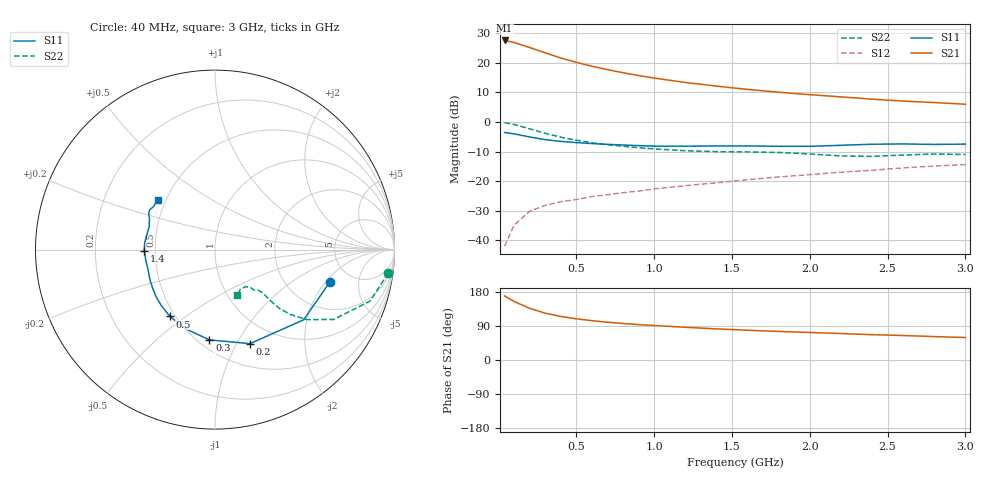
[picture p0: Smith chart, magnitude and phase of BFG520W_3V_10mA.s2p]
! Filename:  BFG520WC.S2P  Version:  4.0
! Philips part #: BFG520  Date: Jun 1994
! Bias condition: Vce=3.0V, Ic=10.0mA
! IN LINE PINNING: same data as with cross emitter pinning.
#  MHz  S  MA  R  50
! Freq  S11  S21  S12  S22  !GUM [dB]
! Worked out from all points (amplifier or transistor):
!   21 points, 40 MHz to 3 GHz, reference 50 ohm
!   highest |S21| = 27.5 dB at 40 MHz (marker M1)
!   |S21| within 3 dB of that: start of sweep to 234.8 MHz
!   unconditionally stable (mu >= 1): 1.075 GHz to end of sweep
!   at 300 MHz: K = 0.45, MSG = 25.8 dB, |S12| = -28.2 dB
!   at 1 GHz: K = 0.98, MSG = 18.7 dB, |S12| = -22.6 dB
!   at 3 GHz: K = 1.12, MAG = 8.1 dB, |S12| = -14.4 dB
!   S11 on the Smith chart (normalised r, x): 40 MHz: 3.43, -2.23; 200 MHz: 0.75, -1.14; 300 MHz: 0.57, -0.76; 500 MHz: 0.47, -0.44; 1.4 GHz: 0.43, -0.01; 3 GHz: 0.45, +0.30
40  0.665 -15.8  23.79 169.1  0.008 81.9  0.974 -7.7
100  0.63 -38.4  22 154.8  0.018 73.7  0.911 -18.3
200  0.559 -69.6  18.1 136.4  0.031 63.3  0.767 -30.5
300  0.504 -93.6  14.72 123.6  0.039 58.6  0.644 -37.3
400  0.47 -110.9  12.07 115.0  0.045 57.4  0.554 -40.7
500  0.449 -124.0  10.17 108.7  0.049 56.9  0.492 -42.3
600  0.432 -133.9  8.753 103.8  0.055 57.7  0.446 -42.6
700  0.42 -141.6  7.664 99.7  0.059 59.2  0.413 -42.6
800  0.408 -148.7  6.797 96.4  0.064 60.6  0.389 -42.4
900  0.399 -155.4  6.087 93.4  0.068 62.3  0.368 -42.4
1000  0.391 -161.2  5.518 91.0  0.074 63.7  0.351 -42.4
1200  0.39 -171.6  4.648 86.4  0.084 65.5  0.327 -43.4
1400  0.394 -179.2  4.037 82.1  0.094 67.1  0.316 -45.3
1600  0.394 174.8  3.547 78.5  0.106 69.5  0.312 -46.2
1800  0.389 168.1  3.182 75.4  0.118 69.8  0.306 -46.3
2000  0.388 160.8  2.891 72.6  0.129 70.8  0.288 -46.8
2200  0.404 154.7  2.655 69.9  0.142 70.9  0.267 -50.6
2400  0.421 151.3  2.429 66.8  0.153 72.2  0.263 -57.4
2600  0.426 148.6  2.252 64.6  0.168 72.6  0.276 -62.4
2800  0.418 145.0  2.129 61.8  0.18 72.2  0.288 -63.8
3000  0.423 139.1  1.994 59.3  0.191 72.4  0.282 -64.4
